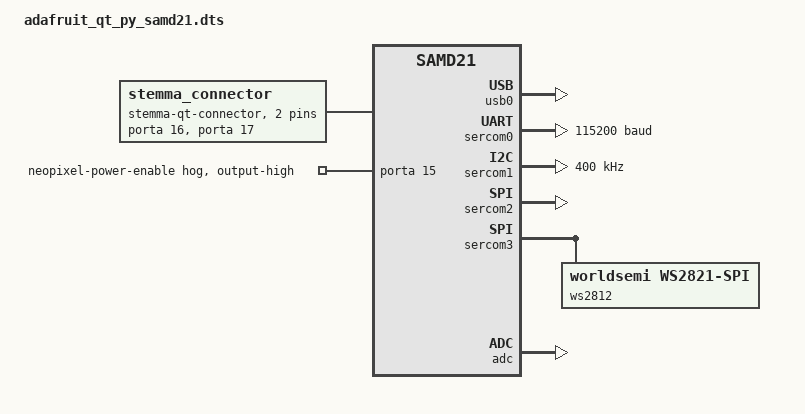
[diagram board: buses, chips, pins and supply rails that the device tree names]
/*
 * Copyright (c) 2026 The Zephyr Project Contributors
 * SPDX-License-Identifier: Apache-2.0
 */

/dts-v1/;

#include <atmel/samd21.dtsi>
#include "adafruit_qt_py_samd21-pinctrl.dtsi"
#include "seeed_xiao_connector.dtsi"
#include <freq.h>
#include <zephyr/dt-bindings/led/led.h>

/ {
	chosen {
		zephyr,sram = &sram0;
		zephyr,flash = &flash0;
		zephyr,console = &sercom0;
		zephyr,shell-uart = &sercom0;
		zephyr,code-partition = &code_partition;
	};

	aliases {
		led-strip = &ws2812;
	};

	stemma_connector: stemma_connector {
		compatible = "stemma-qt-connector";
		#gpio-cells = <2>;
		gpio-map-mask = <0xffffffff 0xffffffc0>;
		gpio-map-pass-thru = <0 0x3f>;
		gpio-map = <0 0 &porta 16 0>,
			   <1 0 &porta 17 0>;
	};
};

&sram0 {
	reg = <0x20000000 DT_SIZE_K(32)>;
};

&flash0 {
	reg = <0x10000000 DT_SIZE_M(8)>;

	partitions {
		compatible = "fixed-partitions";
		#address-cells = <1>;
		#size-cells = <1>;

		boot_partition: partition@0 {
			label = "uf2";
			reg = <0x00000000 0x2000>;
			read-only;
		};

		code_partition: partition@2000 {
			label = "code";
			reg = <0x2000 0x3A000>;
			read-only;
		};

		/*
		 * The final 16 KiB is reserved for the application.
		 * Storage partition will be used by FCB/LittleFS/NVS
		 * if enabled.
		 */
		storage_partition: partition@3c000 {
			label = "storage";
			reg = <0x0003c000 0x00004000>;
		};
	};
};

zephyr_udc0: &usb0 {
	status = "okay";

	pinctrl-0 = <&usb_dc_default>;
	pinctrl-names = "default";
};

&porta {
	status = "okay";

	/*
	 * Unlike some of the other Adafruit boards, the neopixel on this board has
	 * its positive side hooked up to a GPIO pin rather than a positive voltage
	 * rail to save on power. This will enable the LED on board initialization.
	 */
	neopixel-power-enable {
		gpio-hog;
		gpios = <15 GPIO_ACTIVE_HIGH>;
		output-high;
	};
};

&sercom0 {
	status = "okay";
	compatible = "atmel,sam0-uart";
	current-speed = <115200>;
	rxpo = <3>;
	txpo = <1>;

	pinctrl-0 = <&sercom0_uart0_default>;
	pinctrl-names = "default";
};

zephyr_i2c: &sercom1 {
	status = "okay";
	compatible = "atmel,sam0-i2c";
	pinctrl-0 = <&sercom1_i2c_default>;
	pinctrl-names = "default";
	clock-frequency = <I2C_BITRATE_FAST>;
	#address-cells = <1>;
	#size-cells = <0>;
};

zephyr_spi: &sercom2 {
	status = "okay";
	compatible = "atmel,sam0-spi";
	pinctrl-0 = <&sercom2_spi_default>;
	pinctrl-names = "default";
	dipo = <0>;
	dopo = <1>;
	#address-cells = <1>;
	#size-cells = <0>;
};

&sercom3 {
	status = "okay";
	compatible = "atmel,sam0-spi";
	pinctrl-0 = <&ws2812_sercom3_spi_default>;
	pinctrl-names = "default";
	dipo = <0>;
	dopo = <1>;
	#address-cells = <1>;
	#size-cells = <0>;

	ws2812: ws2812 {
		status = "okay";
		compatible = "worldsemi,ws2821-spi";
	};
};

&adc {
	status = "okay";
	pinctrl-0 = <&adc_default>;
	pinctrl-names = "default";
};
